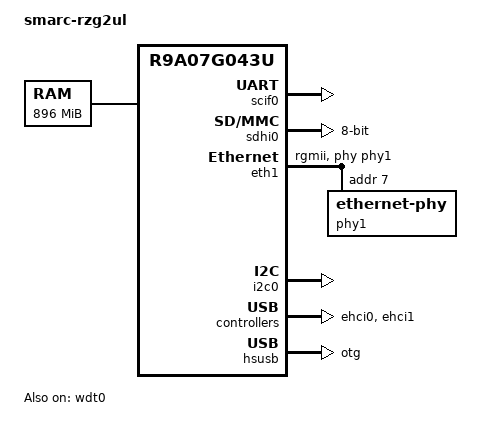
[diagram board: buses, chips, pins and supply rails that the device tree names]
// SPDX-License-Identifier: GPL-2.0
/*
 * Device Tree Source for the GR-Peach board
 *
 * Copyright (C) 2017 Jacopo Mondi <jacopo+renesas@jmondi.org>
 * Copyright (C) 2016 Renesas Electronics
 */

/dts-v1/;
#include <dt-bindings/gpio/gpio.h>
#include "r9a07g043u11.dtsi"
#include "r9a07g043u11-u-boot.dtsi"
#include <dt-bindings/pinctrl/rzg2l-pinctrl.h>

/ {
	model = "smarc-rzg2ul";
	compatible = "renesas,r9a07g043u", "renesas,rzg2ul";

	aliases {
		serial0 = &scif0;
	};

	chosen {
		stdout-path = "serial0:115200n8";
	};

	memory@48000000 {
		device_type = "memory";
		/* first 128MB is reserved for secure area. */
		reg = <0 0x48000000 0 0x38000000>;
	};

};

&pinctrl {
	eth1_pins: eth1 {
		pinmux = <RZG2L_PINMUX(7, 0, 1)>,
				<RZG2L_PINMUX(7, 1, 1)>,
				<RZG2L_PINMUX(7, 2, 1)>,
				<RZG2L_PINMUX(7, 3, 1)>,
				<RZG2L_PINMUX(7, 4, 1)>,
				<RZG2L_PINMUX(8, 0, 1)>,
				<RZG2L_PINMUX(8, 4, 1)>,
				<RZG2L_PINMUX(9, 0, 1)>,
				<RZG2L_PINMUX(9, 1, 1)>,
				<RZG2L_PINMUX(9, 2, 1)>,
				<RZG2L_PINMUX(9, 3, 1)>,
				<RZG2L_PINMUX(10, 0, 1)>,
				<RZG2L_PINMUX(10, 2, 1)>,
				<RZG2L_PINMUX(10, 3, 1)>,
				<RZG2L_PINMUX(10, 4, 1)>;
	};
};

&xinclk {
        clock-frequency = <24000000>;
};

&scif0 {
	status = "okay";
	clock = <100000000>;
};

&sdhi0 {
	bus-width = <8>;
	status = "okay";
	/* This is used for interface that support both eMMC and SD in board */
	mutual-channel;
};

&eth1 {
	pinctrl-names = "default";
	pinctrl-0 = <&eth1_pins>;
	phy-handle = <&phy1>;
	phy-mode = "rgmii";
	status = "okay";

	phy1: ethernet-phy@7 {
		reg = <7>;
	};
};

&i2c0 {
	status = "okay";
};

&ehci0 {
	status = "okay";
};

&ehci1 {
	status = "okay";
};

&hsusb {
	dr_mode = "otg";
	status = "okay";
};

&wdt0 {
	status = "okay";
	timeout-sec = <60>;
};
